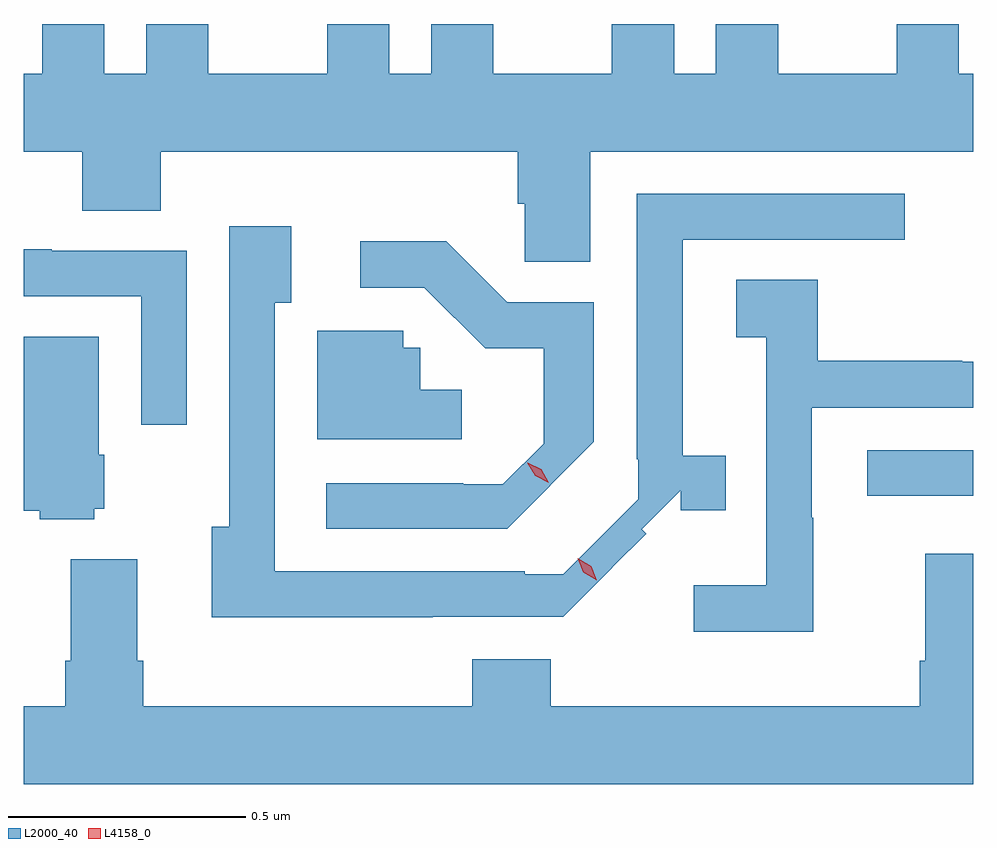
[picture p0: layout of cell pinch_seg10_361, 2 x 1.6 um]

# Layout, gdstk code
import gdstk
lib = gdstk.Library(unit=1e-6, precision=1e-09)
def R(c, l, rs):  # rectangles x0, y0, x1, y1
    for r in rs: c.add(gdstk.rectangle(r[:2], r[2:], *l))
def P(c, l, *ps):  # polygons
    for p in ps: c.add(gdstk.Polygon(p, *l))
L2000_40 = (2000, 40)
L4158_0 = (4158, 0)

pinch_seg10_361 = lib.new_cell('pinch_seg10_361')
R(pinch_seg10_361, L2000_40, [(399.099,1255.635,399.322,1255.731)])
P(pinch_seg10_361, L2000_40, [(397.961,1256.524),(397.711,1256.524),(397.711,1256.629),(397.58,1256.629),(397.58,1256.524),(397.492,1256.524),(397.492,1256.629),(397.361,1256.629),(397.361,1256.524),(397.322,1256.524),(397.322,1256.36),(397.445,1256.36),(397.445,1256.236),(397.61,1256.236),(397.61,1256.36),(398.363,1256.36),(398.363,1256.25),(398.377,1256.25),(398.377,1256.128),(398.515,1256.128),(398.515,1256.36),(399.322,1256.36),(399.322,1256.524),(399.292,1256.524),(399.292,1256.629),(399.161,1256.629),(399.161,1256.524),(398.911,1256.524),(398.911,1256.629),(398.78,1256.629),(398.78,1256.524),(398.692,1256.524),(398.692,1256.629),(398.561,1256.629),(398.561,1256.524),(398.311,1256.524),(398.311,1256.629),(398.18,1256.629),(398.18,1256.524),(398.092,1256.524),(398.092,1256.629),(397.961,1256.629)],
  [(398.183,1255.38),(398.458,1255.38),(398.562,1255.484),(398.562,1255.485),(398.633,1255.555),(398.624,1255.565),(398.706,1255.647),(398.706,1255.605),(398.801,1255.605),(398.801,1255.72),(398.71,1255.72),(398.71,1256.175),(399.178,1256.175),(399.178,1256.271),(398.613,1256.271),(398.613,1255.712),(398.616,1255.712),(398.616,1255.628),(398.458,1255.47),(398.377,1255.47),(398.377,1255.476),(397.851,1255.476),(397.851,1256.042),(397.885,1256.042),(397.885,1256.203),(397.755,1256.203),(397.755,1255.57),(397.718,1255.57),(397.718,1255.379),(398.183,1255.379)],
  [(398.523,1255.749),(398.523,1256.043),(398.34,1256.043),(398.212,1256.171),(398.031,1256.171),(398.031,1256.073),(398.166,1256.073),(398.294,1255.946),(398.417,1255.946),(398.417,1255.745),(398.331,1255.659),(398.248,1255.659),(398.248,1255.662),(397.959,1255.662),(397.959,1255.566),(398.34,1255.566)],
  [(397.665,1256.151),(397.381,1256.151),(397.381,1256.155),(397.322,1256.155),(397.322,1256.055),(397.569,1256.055),(397.569,1255.785),(397.665,1255.785)],
  [(398.985,1255.589),(398.982,1255.589),(398.982,1255.821),(399.322,1255.821),(399.322,1255.917),(399.299,1255.917),(399.299,1255.92),(398.995,1255.92),(398.995,1256.09),(398.823,1256.09),(398.823,1255.969),(398.886,1255.969),(398.886,1255.447),(398.733,1255.447),(398.733,1255.349),(398.985,1255.349)],
  [(398.245,1255.858),(398.157,1255.858),(398.157,1255.947),(398.121,1255.947),(398.121,1255.983),(397.94,1255.983),(397.94,1255.754),(398.245,1255.754)],
  [(397.47,1255.608),(397.492,1255.608),(397.492,1255.722),(397.48,1255.722),(397.48,1255.97),(397.322,1255.97),(397.322,1255.604),(397.356,1255.604),(397.356,1255.586),(397.47,1255.586)],
  [(399.322,1255.513),(399.221,1255.513),(399.221,1255.288),(399.209,1255.288),(399.209,1255.192),(398.432,1255.192),(398.432,1255.291),(398.267,1255.291),(398.267,1255.192),(397.574,1255.192),(397.574,1255.288),(397.561,1255.288),(397.561,1255.501),(397.421,1255.501),(397.421,1255.288),(397.409,1255.288),(397.409,1255.192),(397.322,1255.192),(397.322,1255.028),(399.322,1255.028)])
P(pinch_seg10_361, L4158_0, [(398.529,1255.457),(398.501,1255.474),(398.489,1255.504),(398.489,1255.504),(398.489,1255.504),(398.517,1255.487),(398.529,1255.457),(398.529,1255.457)],
  [(398.428,1255.663),(398.399,1255.677),(398.383,1255.705),(398.383,1255.705),(398.384,1255.705),(398.412,1255.691),(398.428,1255.663),(398.428,1255.663)])

lib.write_gds('pinch_seg10_361.gds')
